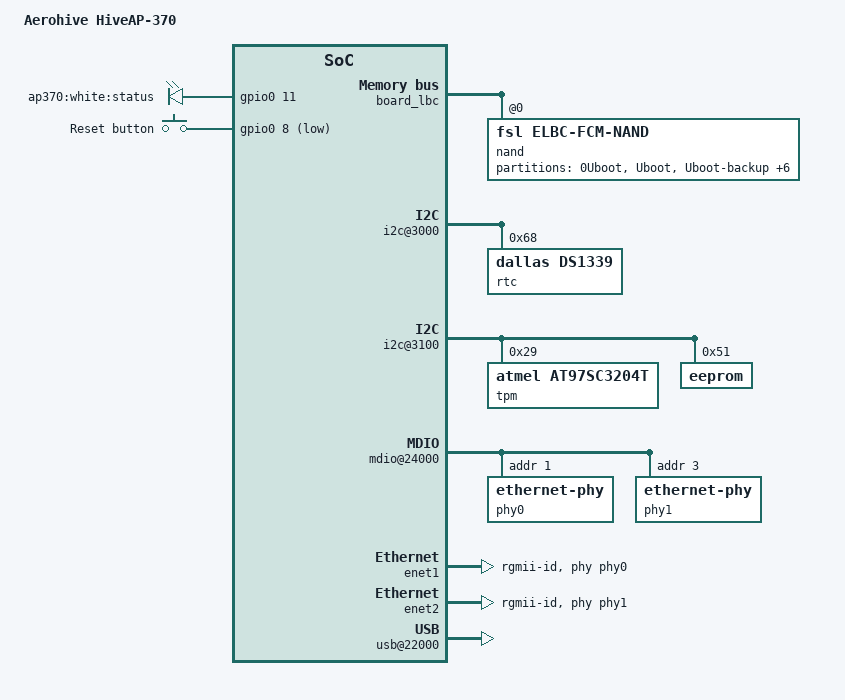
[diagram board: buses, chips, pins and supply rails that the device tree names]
// SPDX-License-Identifier: GPL-2.0-or-later
/include/ "fsl/p1020si-pre.dtsi"
#include <dt-bindings/gpio/gpio.h>
#include <dt-bindings/leds/common.h>
/ {
	model = "Aerohive HiveAP-370";
	compatible = "aerohive,hiveap-370";

	aliases {
		led-boot = &led_status;
		led-failsafe = &led_status;
		led-running = &led_status;
		led-upgrade = &led_status;
		label-mac-device = &enet1;
	};

	leds {
		compatible = "gpio-leds";
		led_status: status {
			label = "ap370:white:status";
			gpios = <&gpio0 11 GPIO_ACTIVE_HIGH>;
			default-state = "on";
			linux,default-trigger = "default-on";
		};
	};

	chosen {
		bootargs-override = "console=ttyS0,9600";
	};

	memory {
		device_type = "memory";
	};

	board_lbc: lbc: localbus@ffe05000 {
		reg = <0x0 0xffe05000 0x0 0x1000>;
		ranges = <0x0 0x0 0x0 0xffa00000 0x100000>;

		nand@0,0 {
			#address-cells = <0x1>;
			#size-cells = <0x1>;
			compatible = "fsl,elbc-fcm-nand";
			reg = <0x0 0x0 0x4000000>;
			bank-width = <0x2>;
			device-width = <0x1>;
			nand-ecc-mode = "none";

			partitions {
				compatible = "fixed-partitions";
				#address-cells = <1>;
				#size-cells = <1>;

				partition@0 {
					reg = <0x0 0x20000>;
					label = "0Uboot";
					read-only;
				};

				partition@20000 {
					reg = <0x20000 0x200000>;
					label = "Uboot";
					read-only;
				};

				partition@220000 {
					reg = <0x220000 0x200000>;
					label = "Uboot-backup";
					read-only;
				};

				partition@420000 {
					reg = <0x420000 0x40000>;
					label = "Uboot Env";
					read-only;
				};

				partition@460000 {
					reg = <0x460000 0x40000>;
					label = "Boot Info";
					read-only;
				};

				partition@4a0000 {
					reg = <0x4a0000 0x40000>;
					label = "Static Boot Info";
					read-only;
				};

				hwinfo: partition@4e0000 {
					reg = <0x4e0000 0x40000>;
					label = "Hardware Info";
					read-only;
				};

				partition@520000 {
					reg = <0x520000 0x4080000>;
					label = "kernel";
				};

				partition@45A0000 {
					reg = <0x45a0000 0x3ba60000>;
					label = "ubi";
				};
			};
		};
	};

	board_soc: soc: soc@ffe00000 {
		device_type = "soc";
		compatible = "fsl,p1020-immr", "simple-bus";
		ranges = <0x0 0x0 0xffe00000 0x100000>;
		bus-frequency = <0x0>;

		i2c@3000 {
			#address-cells = <0x1>;
			#size-cells = <0x0>;
			cell-index = <0x0>;
			compatible = "fsl-i2c";
			reg = <0x3000 0x100>;
			interrupts = <0x2b 0x2>;
			interrupt-parent = <0x2>;
			dfsrr;
			rtc@68 {
				compatible = "dallas,ds1339";
				reg = <0x68>;
			};
		};

		i2c@3100 {
			tpm@29 {
				compatible = "atmel,at97sc3204t";
				reg = <0x29>;
			};

			/* Most likely SoC boot config */
			eeprom@51 {
				compatible = "eeprom";
				reg = <0x51>;
			};
		};

		mdio@24000 {
			#address-cells = <0x1>;
			#size-cells = <0x0>;
			compatible = "fsl,etsec2-mdio";
			reg = <0x24000 0x1000 0xb0030 0x4>;
			phy0: ethernet-phy@0 {
				interrupt-parent = <0x2>;
				interrupts = <0x3 0x3>;
				reg = <0x1>;
				linux,phandle = <0x3>;
			};
			phy1: ethernet-phy@1 {
				interrupt-parent = <0x2>;
				interrupts = <0x3 0x3>;
				reg = <0x3>;
				linux,phandle = <0x4>;
			};
		};

		mdio@25000 {
			status = "disabled";
		};

		mdio@26000 {
			status = "disabled";
		};

		enet0: ethernet@b0000 {
			status = "disabled";
		};

		enet1: ethernet@b1000 {
			status = "okay";
			model = "eTSEC";
			compatible = "fsl,etsec2-mdio";
			phy-handle = <&phy0>;
			phy-connection-type = "rgmii-id";
			nvmem-cells = <&macaddr_hwinfo_0>;
			nvmem-cell-names = "mac-address";
		};

		enet2: ethernet@b2000 {
			status = "okay";
			model = "eTSEC";
			compatible = "fsl,etsec2-mdio";
			phy-handle = <&phy1>;
			phy-connection-type = "rgmii-id";
			nvmem-cells = <&macaddr_hwinfo_0>;
			nvmem-cell-names = "mac-address";
			mac-address-increment = <1>;
		};

		gpio0: gpio-controller@fc00 {
			#gpio-cells = <0x2>;
			compatible = "fsl,mpc8572-gpio";
			reg = <0xfc00 0x100>;
			interrupts = <0x2f 0x2>;
			interrupt-parent = <0x2>;
			gpio-controller;
			available = <0x3 0x5 0x8 0xa 0xb 0xc 0xd 0xf>;
		};

		usb@22000 {
			#address-cells = <0x1>;
			#size-cells = <0x0>;
			compatible = "fsl-usb2-dr";
			reg = <0x22000 0x1000>;
			interrupt-parent = <0x2>;
			interrupts = <0x1c 0x2>;
			phy_type = "ulpi";
		};

		usb@23000 {
			status = "disabled";
		};

		crypto@30000 {
			compatible = "fsl,sec3.3", "fsl,sec3.1", "fsl,sec3.0", "fsl,sec2.4", "fsl,sec2.2", "fsl,sec2.1", "fsl,sec2.0";
			reg = <0x30000 0x10000>;
			interrupts = <0x2d 0x2 0x3a 0x2>;
			interrupt-parent = <0x2>;
			fsl,num-channels = <0x4>;
			fsl,channel-fifo-len = <0x18>;
			fsl,exec-units-mask = <0x97c>;
			fsl,descriptor-types-mask = <0x3a30abf>;
			fsl,multi-host-mode = "dual";
			fsl,channel-remap = <0x1>;
		};
		pic@40000 {
			interrupt-controller;
			#address-cells = <0x0>;
			#interrupt-cells = <0x2>;
			reg = <0x40000 0x40000>;
			compatible = "chrp,open-pic";
			device_type = "open-pic";
			linux,phandle = <0x2>;
		};
		message@41400 {
			compatible = "fsl,p1020-msg", "fsl,mpic-msg";
			reg = <0x41400 0x200>;
			interrupts = <0xb0 0x2 0xb1 0x2 0xb2 0x2 0xb3 0x2>;
			interrupt-parent = <0x2>;
		};
		message@42400 {
			compatible = "fsl,p1020-msg", "fsl,mpic-msg";
			reg = <0x42400 0x200>;
			interrupts = <0xb4 0x2 0xb5 0x2 0xb6 0x2 0xb7 0x2>;
			interrupt-parent = <0x2>;
		};
		msi@41600 {
			compatible = "fsl,p1020-msi", "fsl,mpic-msi";
			reg = <0x41600 0x80>;
			msi-available-ranges = <0x0 0x100>;
			interrupts = <0xe0 0x0 0xe1 0x0 0xe2 0x0 0xe3 0x0 0xe4 0x0 0xe5 0x0 0xe6 0x0 0xe7 0x0>;
			interrupt-parent = <0x2>;
		};
		global-utilities@e0000 {
			compatible = "fsl,p2020-guts";
			reg = <0xe0000 0x1000>;
			fsl,has-rstcr;
		};
	};

	pci0: pcie@ffe09000 {
		reg = <0x0 0xffe09000 0x0 0x1000>;
		ranges = <0x2000000 0x0 0xa0000000 0x0 0xa0000000 0x0 0x20000000
		0x1000000 0x0 0x00000000 0x0 0xffc30000 0x0 0x10000>;
		pcie@0 {
			ranges = <0x2000000 0x0 0xa0000000
			0x2000000 0x0 0xa0000000
			0x0 0x20000000

			0x1000000 0x0 0x0
			0x1000000 0x0 0x0
			0x0 0x100000>;
		};
	};

	pci1: pcie@ffe0a000 {
		reg = <0x0 0xffe0a000 0x0 0x1000>;
		ranges = <0x2000000 0x0 0xc0000000 0x0 0xc0000000 0x0 0x20000000
		0x1000000 0x0 0x00000000 0x0 0xffc20000 0x0 0x10000>;
		pcie@0 {
			ranges = <0x2000000 0x0 0xc0000000
			0x2000000 0x0 0xc0000000
			0x0 0x20000000

			0x1000000 0x0 0x0
			0x1000000 0x0 0x0
			0x0 0x100000>;
		};
	};

	buttons {
		compatible = "gpio-keys";

		reset {
			label = "Reset button";
			gpios = <&gpio0 8 1>; /* active low */
			linux,code = <0x198>; /* KEY_RESTART */
		};
	};
};

&hwinfo {
	compatible = "nvmem-cells";
	#address-cells = <1>;
	#size-cells = <1>;

	macaddr_hwinfo_0: macaddr@0 {
		reg = <0x0 0x6>;
	};
};

/include/ "fsl/p1020si-post.dtsi"
